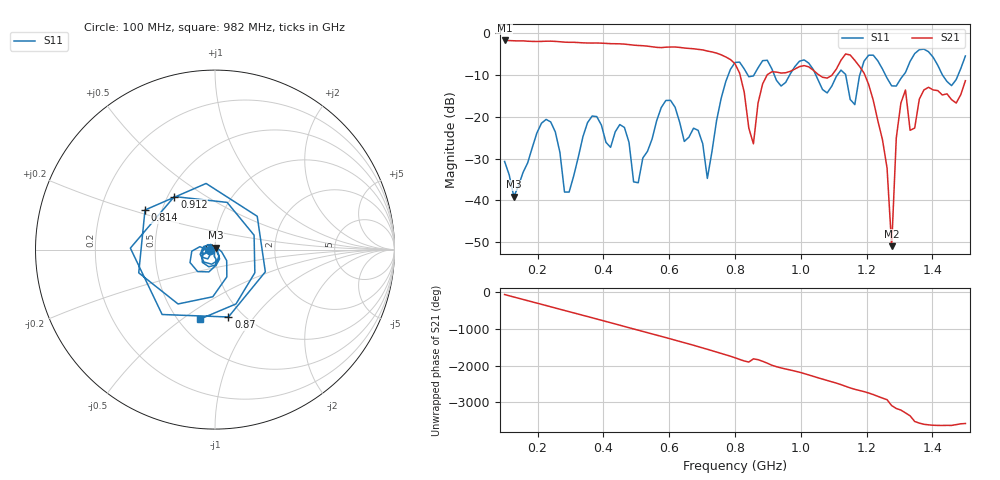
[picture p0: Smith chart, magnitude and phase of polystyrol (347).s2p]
! NanoVNA-App
! Date: 2025-09-25 15:32:35
! Start: 100MHz Stop: 1,5GHz Points: 101
! S-Parameter data: F S11 S21 S12 S22
# Hz S RI R 50
!  Frequency  S11_Real  S11_Imag  S21_Real  S21_Imag  S12_Real  S12_Imag  S22_Real  S22_Imag
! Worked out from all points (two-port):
!   101 points, 100 MHz to 1.5 GHz, reference 50 ohm
!   highest |S21| = -1.80 dB at 100 MHz (marker M1); lowest = -50.9 dB at 1.276 GHz (marker M2)
!   |S21| within 3 dB of the highest: start of sweep to 742.9 MHz
!   lowest |S11| = -39.1 dB at 128 MHz (marker M3), VSWR 1.02, Z = 50.3 + j1.06 ohm
!   |S11| at or under -10 dB: start of sweep to 779.8 MHz; 1.045 GHz to 1.112 GHz (66.23 MHz wide, 6.14 % of centre); 1.257 GHz to 1.313 GHz (55.69 MHz wide, 4.33 % of centre) (the widest 3 of 7)
!   S12 and S22 are empty: the file has one direction only
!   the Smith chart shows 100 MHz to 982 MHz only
!   S11 on the Smith chart (normalised r, x): 100 MHz: 0.94, -0.01; 814 MHz: 0.40, +0.22; 870 MHz: 0.86, -0.75; 912 MHz: 0.54, +0.37; 982 MHz: 0.64, -0.58
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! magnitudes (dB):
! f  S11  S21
! 100 MHz  -30.7  -1.8
! 128 MHz  -39.1  -1.9
! 212 MHz  -21.6  -2.0
! 282 MHz  -38.0  -2.2
! 338 MHz  -24.8  -2.4
! 464 MHz  -22.6  -2.7
! 506 MHz  -35.8  -3.0
! 576 MHz  -17.8  -3.5
! 716 MHz  -34.8  -4.3
! 800 MHz  -7.0  -7.4
! 814 MHz  -7.0  -9.6
! 856 MHz  -10.3  -26.5
! 870 MHz  -8.3  -16.8
! 912 MHz  -8.6  -9.3
! 982 MHz  -8.0  -8.6
! 1.038 GHz  -8.7  -8.9
! 1.192 GHz  -6.8  -9.6
! 1.262 GHz  -10.8  -32.3
! 1.276 GHz  -12.6  -50.9
! 1.29 GHz  -12.7  -25.1
! 1.318 GHz  -9.4  -13.6
! 1.5 GHz  -5.5  -11.4
